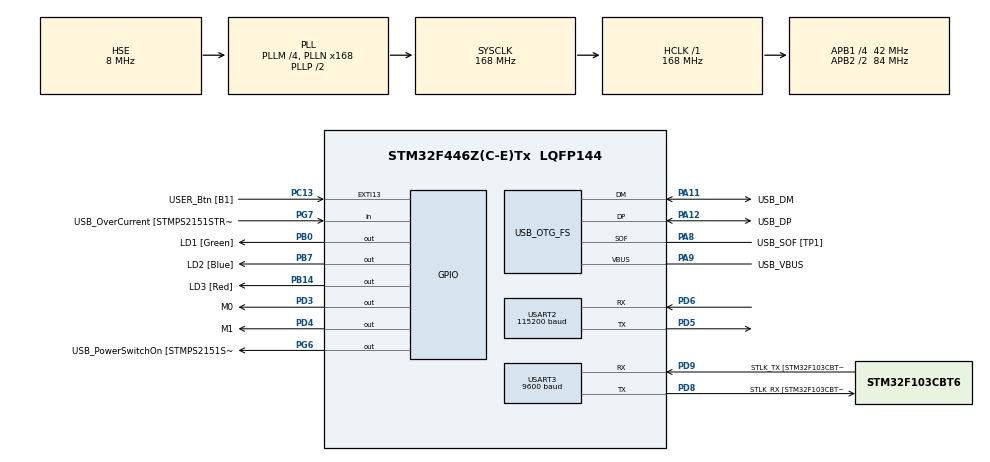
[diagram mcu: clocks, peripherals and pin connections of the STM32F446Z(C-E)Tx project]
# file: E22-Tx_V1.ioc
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Dma.Request0=USART2_RX
Dma.Request1=USART2_TX
Dma.USART2_RX.0.Direction=DMA_PERIPH_TO_MEMORY
Dma.USART2_RX.0.FIFOMode=DMA_FIFOMODE_DISABLE
Dma.USART2_RX.0.Instance=DMA1_Stream5
Dma.USART2_RX.0.MemDataAlignment=DMA_MDATAALIGN_BYTE
Dma.USART2_RX.0.MemInc=DMA_MINC_ENABLE
Dma.USART2_RX.0.Mode=DMA_NORMAL
Dma.USART2_RX.0.PeriphDataAlignment=DMA_PDATAALIGN_BYTE
Dma.USART2_RX.0.PeriphInc=DMA_PINC_DISABLE
Dma.USART2_RX.0.Priority=DMA_PRIORITY_LOW
Dma.USART2_TX.1.Direction=DMA_MEMORY_TO_PERIPH
Dma.USART2_TX.1.FIFOMode=DMA_FIFOMODE_DISABLE
Dma.USART2_TX.1.Instance=DMA1_Stream6
Dma.USART2_TX.1.MemDataAlignment=DMA_MDATAALIGN_BYTE
Dma.USART2_TX.1.MemInc=DMA_MINC_ENABLE
Dma.USART2_TX.1.Mode=DMA_NORMAL
Dma.USART2_TX.1.PeriphDataAlignment=DMA_PDATAALIGN_BYTE
Dma.USART2_TX.1.PeriphInc=DMA_PINC_DISABLE
Dma.USART2_TX.1.Priority=DMA_PRIORITY_LOW
Mcu.Family=STM32F4
Mcu.Name=STM32F446Z(C-E)Tx
Mcu.Package=LQFP144
NVIC.DMA1_Stream5_IRQn=true\:0\:0\:false\:false\:true\:false\:true\:true
NVIC.DMA1_Stream6_IRQn=true\:0\:0\:false\:false\:true\:false\:true\:true
NVIC.PriorityGroup=NVIC_PRIORITYGROUP_4
NVIC.USART2_IRQn=true\:0\:0\:false\:false\:true\:true\:true\:true
PA10.GPIO_Label=USB_ID
PA10.Signal=USB_OTG_FS_ID
PA11.GPIO_Label=USB_DM
PA11.Mode=Device_Only
PA11.Signal=USB_OTG_FS_DM
PA12.GPIO_Label=USB_DP
PA12.Mode=Device_Only
PA12.Signal=USB_OTG_FS_DP
PA13.GPIO_Label=TMS
PA13.Mode=Serial_Wire
PA13.Signal=SYS_JTMS-SWDIO
PA14.GPIO_Label=TCK
PA14.Mode=Serial_Wire
PA14.Signal=SYS_JTCK-SWCLK
PA8.GPIO_Label=USB_SOF [TP1]
PA8.Mode=Activate_SOF_FS
PA8.Signal=USB_OTG_FS_SOF
PA9.GPIO_Label=USB_VBUS
PA9.Mode=Activate_VBUS
PA9.Signal=USB_OTG_FS_VBUS
PB0.GPIO_Label=LD1 [Green]
PB0.Signal=GPIO_Output
PB14.GPIO_Label=LD3 [Red]
PB14.Signal=GPIO_Output
PB7.GPIO_Label=LD2 [Blue]
PB7.Signal=GPIO_Output
PC13.GPIO_Label=USER_Btn [B1]
PC13.Signal=GPXTI13
PC14-OSC32_IN.Mode=LSE-External-Oscillator
PC14-OSC32_IN.Signal=RCC_OSC32_IN
PC15-OSC32_OUT.Mode=LSE-External-Oscillator
PC15-OSC32_OUT.Signal=RCC_OSC32_OUT
PD3.GPIO_Label=M0
PD3.Signal=GPIO_Output
PD4.GPIO_Label=M1
PD4.Signal=GPIO_Output
PD5.Mode=Asynchronous
PD5.Signal=USART2_TX
PD6.Mode=Asynchronous
PD6.Signal=USART2_RX
PD8.GPIO_Label=STLK_RX [STM32F103CBT6_PA3]
PD8.Mode=Asynchronous
PD8.Signal=USART3_TX
PD9.GPIO_Label=STLK_TX [STM32F103CBT6_PA2]
PD9.Mode=Asynchronous
PD9.Signal=USART3_RX
PG6.GPIO_Label=USB_PowerSwitchOn [STMPS2151STR_EN]
PG6.Signal=GPIO_Output
PG7.GPIO_Label=USB_OverCurrent [STMPS2151STR_FAULT]
PG7.Signal=GPIO_Input
PH0-OSC_IN.GPIO_Label=MCO [STM32F103CBT6_PA8]
PH0-OSC_IN.Mode=HSE-External-Clock-Source
PH0-OSC_IN.Signal=RCC_OSC_IN
PH1-OSC_OUT.Mode=HSE-External-Clock-Source
PH1-OSC_OUT.Signal=RCC_OSC_OUT
ProjectManager.HeapSize=0x200
ProjectManager.StackSize=0x400
ProjectManager.TargetToolchain=STM32CubeIDE
RCC.48MHZClocksFreq_Value=24000000
RCC.AHBFreq_Value=168000000
RCC.APB1CLKDivider=RCC_HCLK_DIV4
RCC.APB1Freq_Value=42000000
RCC.APB1TimFreq_Value=84000000
RCC.APB2CLKDivider=RCC_HCLK_DIV2
RCC.APB2Freq_Value=84000000
RCC.APB2TimFreq_Value=168000000
RCC.CortexFreq_Value=168000000
RCC.HCLKFreq_Value=168000000
RCC.HSE_VALUE=8000000
RCC.HSI_VALUE=16000000
RCC.PLLM=4
RCC.PLLMUL=RCC_PLL_MUL9
RCC.PLLN=168
RCC.PLLQ=7
RCC.PRESCALERUSB=RCC_USBCLKSOURCE_PLL_DIV1_5
RCC.SYSCLKFreq_VALUE=168000000
RCC.SYSCLKSource=RCC_SYSCLKSOURCE_PLLCLK
RCC.SYSCLKSourceVirtual=RCC_SYSCLKSOURCE_PLLCLK
RCC.USBFreq_Value=48000000
RCC.VCOOutputFreq_Value=336000000
USART2.BaudRate=115200
USART2.VirtualMode=VM_ASYNC
USART3.BaudRate=9600
USART3.VirtualMode=VM_ASYNC
USB_OTG_FS.VirtualMode=Device_Only
VP_RTC_VS_RTC_Activate.Mode=RTC_Enabled
board=NUCLEO-F446ZE

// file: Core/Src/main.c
/* USER CODE BEGIN Header */
/**
  ******************************************************************************
  * @file           : main.c
  * @brief          : Main program body
  ******************************************************************************
  * @attention
  *
  * Copyright (c) 2025 STMicroelectronics.
  * All rights reserved.
  *
  * This software is licensed under terms that can be found in the LICENSE file
  * in the root directory of this software component.
  * If no LICENSE file comes with this software, it is provided AS-IS.
  *
  ******************************************************************************
  */
/* USER CODE END Header */
#include "main.h"
#include "dma.h"
#include "rtc.h"
#include "usart.h"
#include "usb_otg.h"
#include "gpio.h"

/* USER CODE BEGIN Includes */
#include "e22900t22d.h"
#include <stdio.h>
#include <string.h>
#include <stdbool.h>
/* USER CODE END Includes */

/* USER CODE BEGIN PTD */
int _write(int file, char *ptr, int len) {
	for (int idx = 0; idx < len; idx++) {
			while(!(USART3 -> SR & USART_SR_TXE));
			USART3->DR = (uint8_t)ptr[idx];
	}
	return len;
}

volatile bool ack_received = true;

RTC_TimeTypeDef sTime;
RTC_DateTypeDef sDate;

void get_timestamp_string(char *timestamp_str, uint32_t max_len)
{
  // Get current time and date from RTC
  HAL_RTC_GetTime(&hrtc, &sTime, RTC_FORMAT_BIN);
  HAL_RTC_GetDate(&hrtc, &sDate, RTC_FORMAT_BIN); // This is necessary after HAL_RTC_GetTime

  // Format the timestamp string as "YYYY-MM-DD HH:MM:SS"
  snprintf(timestamp_str, max_len, "%02d:%02d:%02d",
           sTime.Hours, sTime.Minutes, sTime.Seconds);
}
/* USER CODE END PTD */

void SystemClock_Config(void);
/* USER CODE BEGIN PFP */
//static void led_toggle_task(void *parameter);
//static void e22_handle_task(void *parameter);
//static void e22_transmission_task(void *parameter);
static void main_e22_transceiverMode(void);
static void main_e22_configurationMode(void);
static void main_lora_packet_receive(uint8_t* dataPacket, uint8_t size);
/* USER CODE END PFP */

/* USER CODE BEGIN 0 */
int ret;
/* USER CODE END 0 */

int main(void)
{

  /* MCU Configuration--------------------------------------------------------*/

  /* Reset of all peripherals, Initializes the Flash interface and the Systick. */
  HAL_Init();

  /* Configure the system clock */
  SystemClock_Config();

  /* Initialize all configured peripherals */
  MX_GPIO_Init();
  MX_DMA_Init();
  MX_USART3_UART_Init();
  MX_USB_OTG_FS_PCD_Init();
  MX_USART2_UART_Init();
  MX_RTC_Init();
  /* USER CODE BEGIN 2 */
//initialize
  printf("--- LoRa Transmitter Initialized ---\r\n");

    // Initialize the E22 LoRa module driver
  e22_lora_init(&huart2,
                  HAL_UART_Transmit_DMA,
                  HAL_UARTEx_ReceiveToIdle_DMA,
                  main_lora_packet_receive,
                  main_e22_configurationMode,
                  main_e22_transceiverMode);
  int tx_packet_count = 0;
  /* USER CODE END 2 */

  /* Infinite loop */
  while (1)
  {

    /* USER CODE BEGIN 3 */
	  e22_lora_manager();

	  	  static uint32_t last_tx_time = 0;
	  	  if(ack_received && (HAL_GetTick() - last_tx_time > 100))
	  	  {
	  		  ack_received = false; // Enter "waiting for reply" state
	  		  tx_packet_count++;
	  		  char timestamp[10];
	  		  get_timestamp_string(timestamp, sizeof(timestamp));
	  		  char packet_to_send[60];
	  		  sprintf(packet_to_send, "Hello from Transmitter! %d", tx_packet_count);
	  		  uint8_t packetSize = strlen(packet_to_send);

	  		  printf("Sending: \"%s\" at %-8s \r\n", packet_to_send, timestamp);

	  		  e22_lora_transnit((uint8_t*)packet_to_send, packetSize, 0x01, 0x12);

	  		  last_tx_time = HAL_GetTick();
	  	  }
  }
//	  HAL_Delay(50);
  /* USER CODE END 3 */
}

void SystemClock_Config(void)
{
  RCC_OscInitTypeDef RCC_OscInitStruct = {0};
  RCC_ClkInitTypeDef RCC_ClkInitStruct = {0};

  /** Configure the main internal regulator output voltage
  */
  __HAL_RCC_PWR_CLK_ENABLE();
  __HAL_PWR_VOLTAGESCALING_CONFIG(PWR_REGULATOR_VOLTAGE_SCALE1);

  /** Initializes the RCC Oscillators according to the specified parameters
  * in the RCC_OscInitTypeDef structure.
  */
  RCC_OscInitStruct.OscillatorType = RCC_OSCILLATORTYPE_LSI|RCC_OSCILLATORTYPE_HSE;
  RCC_OscInitStruct.HSEState = RCC_HSE_BYPASS;
  RCC_OscInitStruct.LSEState = RCC_LSE_ON;
  RCC_OscInitStruct.LSIState = RCC_LSI_ON;
  RCC_OscInitStruct.PLL.PLLState = RCC_PLL_ON;
  RCC_OscInitStruct.PLL.PLLSource = RCC_PLLSOURCE_HSE;
  RCC_OscInitStruct.PLL.PLLM = 4;
  RCC_OscInitStruct.PLL.PLLN = 168;
  RCC_OscInitStruct.PLL.PLLP = RCC_PLLP_DIV2;
  RCC_OscInitStruct.PLL.PLLQ = 7;
  RCC_OscInitStruct.PLL.PLLR = 2;
  if (HAL_RCC_OscConfig(&RCC_OscInitStruct) != HAL_OK)
  {
    Error_Handler();
  }

  /** Initializes the CPU, AHB and APB buses clocks
  */
  RCC_ClkInitStruct.ClockType = RCC_CLOCKTYPE_HCLK|RCC_CLOCKTYPE_SYSCLK
                              |RCC_CLOCKTYPE_PCLK1|RCC_CLOCKTYPE_PCLK2;
  RCC_ClkInitStruct.SYSCLKSource = RCC_SYSCLKSOURCE_PLLCLK;
  RCC_ClkInitStruct.AHBCLKDivider = RCC_SYSCLK_DIV1;
  RCC_ClkInitStruct.APB1CLKDivider = RCC_HCLK_DIV4;
  RCC_ClkInitStruct.APB2CLKDivider = RCC_HCLK_DIV2;

  if (HAL_RCC_ClockConfig(&RCC_ClkInitStruct, FLASH_LATENCY_5) != HAL_OK)
  {
    Error_Handler();
  }
}

/* USER CODE BEGIN 4 */
// This callback is fired when a UART transmission is complete.
void HAL_UART_TxCpltCallback(UART_HandleTypeDef *huart)
{
    // Check if the callback is from the LoRa module's UART (USART2)
    if(huart->Instance == USART2)
    {
        // Print confirmation to the serial monitor.
//        printf("TX CONFIRMED: Packet Sent!\r\n");
        // Toggle the green LED (LD2) for visual confirmation.
        HAL_GPIO_TogglePin(LD2_GPIO_Port, LD2_Pin);
        // Signal the driver that the UART is ready for the next transmission.
        e22_lora_make_ready();
    }
}

/**
 * @brief This callback is fired when new data is received. Not actively used on the transmitter.
 */
void HAL_UARTEx_RxEventCallback(UART_HandleTypeDef *huart, uint16_t Size)
{
    if(huart->Instance == USART2)
    {
        // Although we are a transmitter, the hardware still listens.
        // We must call this to re-arm the reception for the next idle event.
        e22_lora_reception_complete(Size); //
    }
}

/**
 * @brief Sets the LoRa module to its default transparent transmission mode.
 */
static void main_e22_transceiverMode(void)
{
	HAL_GPIO_WritePin(GPIOB, M0_Pin|M1_Pin, GPIO_PIN_RESET);
}

/**
 * @brief Sets the LoRa module to configuration mode.
 */
static void main_e22_configurationMode(void)
{
	HAL_GPIO_WritePin(GPIOB, M0_Pin, GPIO_PIN_RESET);
	HAL_GPIO_WritePin(GPIOB, M1_Pin, GPIO_PIN_SET);
}

/**
 * @brief Handles received packets. This is a stub on the transmitter.
 */
static void main_lora_packet_receive(uint8_t* dataPacket, uint8_t size)
{
	uint8_t loraPacket[MAX_DATA_PACKET_SIZE + 1] = {0};
		memcpy(loraPacket, dataPacket, size);
		loraPacket[size] = '\0';

	    // Print the received message (which is the ACK/command)
		printf("REPLY RECEIVED: \"%s\". Ready for next packet.\r\n", loraPacket);
        HAL_GPIO_TogglePin(LD3_GPIO_Port, LD3_Pin);

	    // Set the flag to true regardless of the content
		ack_received = true; // Unlock the transmitter
}
/* USER CODE END 4 */

void Error_Handler(void)
{
  __disable_irq();
  while (1)
  {
  }
}
